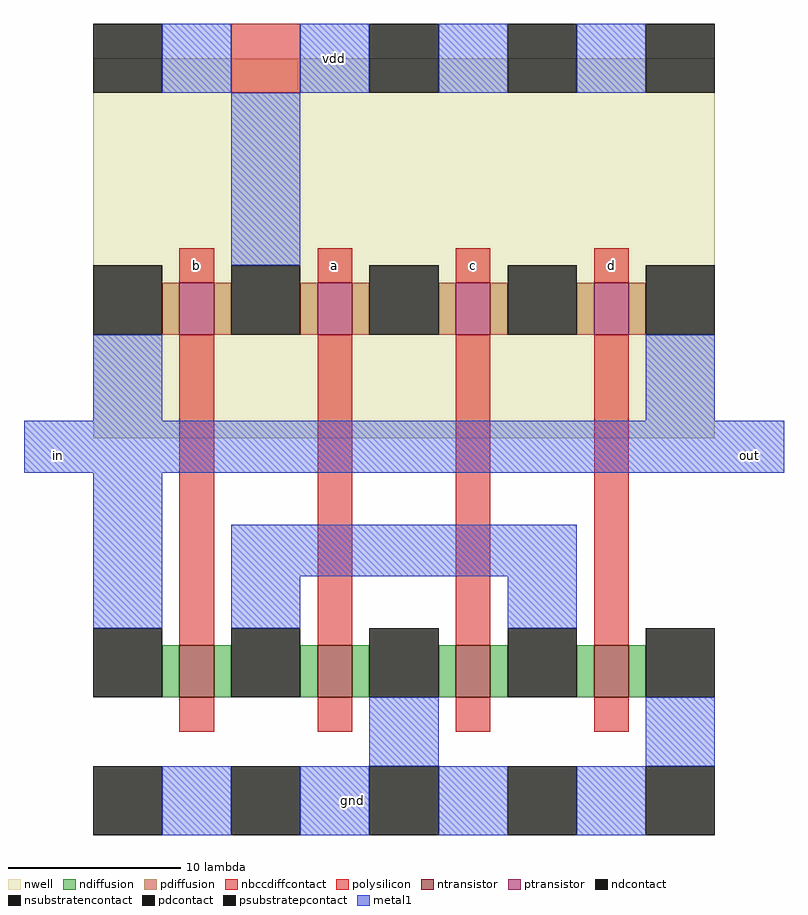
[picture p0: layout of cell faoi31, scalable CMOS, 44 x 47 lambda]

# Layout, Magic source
magic
tech scmos
<< nwell >>
rect -42 52 -6 74
<< polysilicon >>
rect -37 61 -35 63
rect -29 61 -27 63
rect -21 61 -19 63
rect -13 61 -11 63
rect -37 40 -35 58
rect -29 40 -27 58
rect -21 40 -19 58
rect -13 40 -11 58
rect -37 35 -35 37
rect -29 35 -27 37
rect -21 35 -19 37
rect -13 35 -11 37
<< ndiffusion >>
rect -38 37 -37 40
rect -35 37 -34 40
rect -30 37 -29 40
rect -27 37 -26 40
rect -22 37 -21 40
rect -19 37 -18 40
rect -14 37 -13 40
rect -11 37 -10 40
<< pdiffusion >>
rect -38 58 -37 61
rect -35 58 -34 61
rect -30 58 -29 61
rect -27 58 -26 61
rect -22 58 -21 61
rect -19 58 -18 61
rect -14 58 -13 61
rect -11 58 -10 61
<< metal1 >>
rect -38 72 -34 76
rect -30 72 -26 76
rect -22 72 -18 76
rect -14 72 -10 76
rect -34 62 -30 72
rect -42 53 -38 58
rect -10 53 -6 58
rect -46 50 -2 53
rect -42 41 -38 50
rect -34 44 -14 47
rect -34 41 -30 44
rect -18 41 -14 44
rect -26 33 -22 37
rect -10 33 -6 37
rect -38 29 -34 33
rect -30 29 -26 33
rect -22 29 -18 33
rect -14 29 -10 33
<< ntransistor >>
rect -37 37 -35 40
rect -29 37 -27 40
rect -21 37 -19 40
rect -13 37 -11 40
<< ptransistor >>
rect -37 58 -35 61
rect -29 58 -27 61
rect -21 58 -19 61
rect -13 58 -11 61
<< ndcontact >>
rect -42 37 -38 41
rect -34 37 -30 41
rect -26 37 -22 41
rect -18 37 -14 41
rect -10 37 -6 41
<< pdcontact >>
rect -42 58 -38 62
rect -34 58 -30 62
rect -26 58 -22 62
rect -18 58 -14 62
rect -10 58 -6 62
<< nbccdiffcontact >>
rect -34 72 -30 76
<< psubstratepcontact >>
rect -42 29 -38 33
rect -34 29 -30 33
rect -26 29 -22 33
rect -18 29 -14 33
rect -10 29 -6 33
<< nsubstratencontact >>
rect -42 72 -38 76
rect -26 72 -22 76
rect -18 72 -14 76
rect -10 72 -6 76
<< labels >>
rlabel metal1 -6 51 -2 51 7 out
rlabel metal1 -46 51 -42 51 3 in
rlabel metal1 -30 74 -26 74 5 vdd
rlabel metal1 -29 31 -25 31 1 gnd
rlabel polysilicon -37 61 -35 63 1 b
rlabel polysilicon -29 61 -27 63 1 a
rlabel polysilicon -21 61 -19 63 1 c
rlabel polysilicon -13 61 -11 63 1 d
<< end >>
